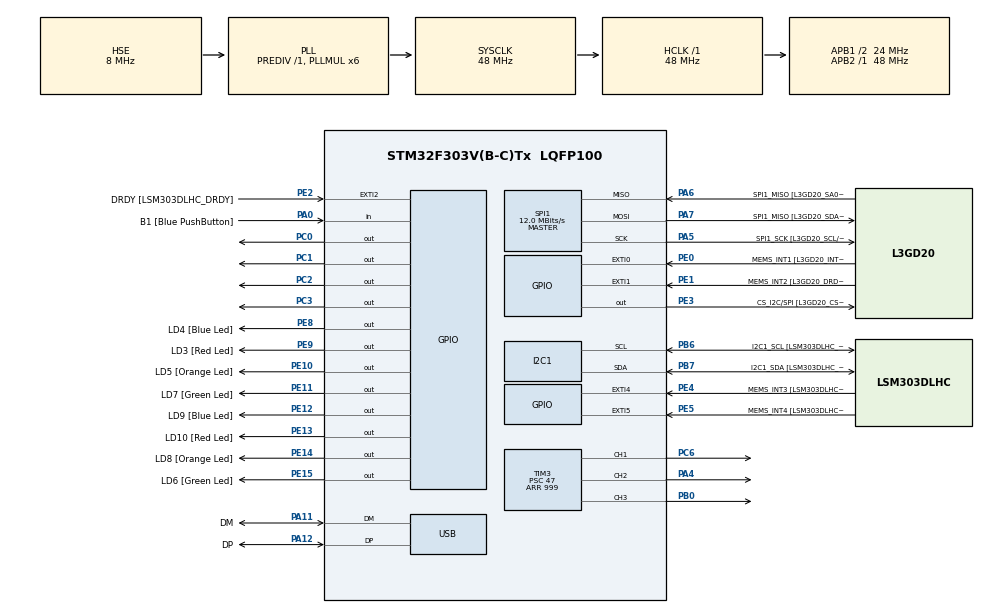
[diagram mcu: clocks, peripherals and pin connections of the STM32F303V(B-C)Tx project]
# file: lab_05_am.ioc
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I2C1.Timing=0x00201D2B
I2C1.Timing-I2C=0x2000090E
Mcu.Family=STM32F3
Mcu.Name=STM32F303V(B-C)Tx
Mcu.Package=LQFP100
NVIC.PriorityGroup=NVIC_PRIORITYGROUP_0
PA0.GPIO_Label=B1 [Blue PushButton]
PA0.Signal=GPIO_Input
PA11.GPIO_Label=DM
PA11.Mode=Device
PA11.Signal=USB_DM
PA12.GPIO_Label=DP
PA12.Mode=Device
PA12.Signal=USB_DP
PA13.GPIO_Label=SWDIO
PA13.Mode=Serial_Wire
PA13.Signal=SYS_JTMS-SWDIO
PA14.GPIO_Label=SWCLK
PA14.Mode=Serial_Wire
PA14.Signal=SYS_JTCK-SWCLK
PA4.Signal=S_TIM3_CH2
PA5.GPIO_Label=SPI1_SCK [L3GD20_SCL/SPC]
PA5.Mode=Full_Duplex_Master
PA5.Signal=SPI1_SCK
PA6.GPIO_Label=SPI1_MISO [L3GD20_SA0/SDO]
PA6.Mode=Full_Duplex_Master
PA6.Signal=SPI1_MISO
PA7.GPIO_Label=SPI1_MISO [L3GD20_SDA/SDI/SDO]
PA7.Mode=Full_Duplex_Master
PA7.Signal=SPI1_MOSI
PB0.Signal=S_TIM3_CH3
PB3.GPIO_Label=SWO
PB3.Signal=SYS_JTDO-TRACESWO
PB6.GPIO_Label=I2C1_SCL [LSM303DLHC_SCL]
PB6.GPIO_Pu=GPIO_PULLUP
PB6.Mode=I2C
PB6.Signal=I2C1_SCL
PB7.GPIO_Label=I2C1_SDA [LSM303DLHC_SDA]
PB7.GPIO_Pu=GPIO_PULLUP
PB7.Mode=I2C
PB7.Signal=I2C1_SDA
PC0.Signal=GPIO_Output
PC1.Signal=GPIO_Output
PC14-OSC32_IN.GPIO_Label=OSC32_IN
PC14-OSC32_IN.Signal=RCC_OSC32_IN
PC15-OSC32_OUT.GPIO_Label=OSC32_OUT
PC15-OSC32_OUT.Signal=RCC_OSC32_OUT
PC2.Signal=GPIO_Output
PC3.Signal=GPIO_Output
PC6.Signal=S_TIM3_CH1
PE0.GPIO_Label=MEMS_INT1 [L3GD20_INT1]
PE0.GPIO_ModeDefaultEXTI=GPIO_MODE_EVT_RISING
PE0.Signal=GPXTI0
PE1.GPIO_Label=MEMS_INT2 [L3GD20_DRDY/INT2]
PE1.GPIO_ModeDefaultEXTI=GPIO_MODE_EVT_RISING
PE1.Signal=GPXTI1
PE10.GPIO_Label=LD5 [Orange Led]
PE10.Signal=GPIO_Output
PE11.GPIO_Label=LD7 [Green Led]
PE11.Signal=GPIO_Output
PE12.GPIO_Label=LD9 [Blue Led]
PE12.Signal=GPIO_Output
PE13.GPIO_Label=LD10 [Red Led]
PE13.Signal=GPIO_Output
PE14.GPIO_Label=LD8 [Orange Led]
PE14.Signal=GPIO_Output
PE15.GPIO_Label=LD6 [Green Led]
PE15.Signal=GPIO_Output
PE2.GPIO_Label=DRDY [LSM303DLHC_DRDY]
PE2.GPIO_ModeDefaultEXTI=GPIO_MODE_EVT_RISING
PE2.Signal=GPXTI2
PE3.GPIO_Label=CS_I2C/SPI [L3GD20_CS_I2C/SPI]
PE3.Signal=GPIO_Output
PE4.GPIO_Label=MEMS_INT3 [LSM303DLHC_INT1]
PE4.GPIO_ModeDefaultEXTI=GPIO_MODE_EVT_RISING
PE4.Signal=GPXTI4
PE5.GPIO_Label=MEMS_INT4 [LSM303DLHC_INT2]
PE5.GPIO_ModeDefaultEXTI=GPIO_MODE_EVT_RISING
PE5.Signal=GPXTI5
PE8.GPIO_Label=LD4 [Blue Led]
PE8.Signal=GPIO_Output
PE9.GPIO_Label=LD3 [Red Led]
PE9.Signal=GPIO_Output
PF0-OSC_IN.GPIO_Label=OSC_IN
PF0-OSC_IN.Mode=HSE-External-Clock-Source
PF0-OSC_IN.Signal=RCC_OSC_IN
PF1-OSC_OUT.GPIO_Label=OSC_OUT
PF1-OSC_OUT.Signal=RCC_OSC_OUT
ProjectManager.HeapSize=0x200
ProjectManager.StackSize=0x400
ProjectManager.TargetToolchain=CMake
RCC.AHBFreq_Value=48000000
RCC.APB1CLKDivider=RCC_HCLK_DIV2
RCC.APB1Freq_Value=24000000
RCC.APB1TimFreq_Value=48000000
RCC.APB2Freq_Value=48000000
RCC.APB2TimFreq_Value=48000000
RCC.CortexFreq_Value=48000000
RCC.HCLKFreq_Value=48000000
RCC.HSE_VALUE=8000000
RCC.HSI_VALUE=8000000
RCC.LSE_VALUE=32768
RCC.PLLMUL=RCC_PLL_MUL6
RCC.SYSCLKFreq_VALUE=48000000
RCC.SYSCLKSourceVirtual=RCC_SYSCLKSOURCE_PLLCLK
RCC.USBFreq_Value=48000000
SH.S_TIM3_CH1.0=TIM3_CH1,PWM Generation1 CH1
SH.S_TIM3_CH2.0=TIM3_CH2,PWM Generation2 CH2
SH.S_TIM3_CH3.0=TIM3_CH3,PWM Generation3 CH3
SPI1.BaudRatePrescaler=SPI_BAUDRATEPRESCALER_4
SPI1.BaudRatePrescaler-Full_Duplex_Master=SPI_BAUDRATEPRESCALER_2
SPI1.CalculateBaudRate=12.0 MBits/s
SPI1.CalculateBaudRate-Full_Duplex_Master=24.0 MBits/s
SPI1.Direction=SPI_DIRECTION_2LINES
SPI1.Mode=SPI_MODE_MASTER
SPI1.Mode-Full_Duplex_Master=SPI_MODE_MASTER
SPI1.VirtualType=VM_MASTER
TIM3.Channel-PWM\ Generation1\ CH1=TIM_CHANNEL_1
TIM3.Channel-PWM\ Generation2\ CH2=TIM_CHANNEL_2
TIM3.Channel-PWM\ Generation3\ CH3=TIM_CHANNEL_3
TIM3.Period=999
TIM3.Prescaler=47
TIM3.Pulse-PWM\ Generation1\ CH1=500
TIM3.Pulse-PWM\ Generation2\ CH2=500
TIM3.Pulse-PWM\ Generation3\ CH3=500
board=STM32F3DISCOVERY

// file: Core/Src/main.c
/* USER CODE BEGIN Header */
/**
  ******************************************************************************
  * @file           : main.c
  * @brief          : Main program body
  ******************************************************************************
  * @attention
  *
  * Copyright (c) 2026 STMicroelectronics.
  * All rights reserved.
  *
  * This software is licensed under terms that can be found in the LICENSE file
  * in the root directory of this software component.
  * If no LICENSE file comes with this software, it is provided AS-IS.
  *
  ******************************************************************************
  */
/* USER CODE END Header */
#include "main.h"

I2C_HandleTypeDef hi2c1;

SPI_HandleTypeDef hspi1;

TIM_HandleTypeDef htim3;

PCD_HandleTypeDef hpcd_USB_FS;

void SystemClock_Config(void);
static void MX_GPIO_Init(void);
static void MX_I2C1_Init(void);
static void MX_SPI1_Init(void);
static void MX_TIM3_Init(void);
static void MX_USB_PCD_Init(void);
/* USER CODE BEGIN PFP */
void Motor_A_SetSpeed(uint8_t speed_percent);
void Motor_B_SetSpeed(uint8_t speed_percent);
void Motor_A_Accelerate(uint32_t duration_ms);
void Motor_A_Decelerate(uint32_t duration_ms);
void Motor_B_Accelerate(uint32_t duration_ms);
void Motor_B_Decelerate(uint32_t duration_ms);
void Both_Motors_SetSpeed(uint8_t speed_percent);
void Both_Motors_Accelerate(uint32_t duration_ms);
void Both_Motors_Decelerate(uint32_t duration_ms);
/* USER CODE END PFP */

/* USER CODE BEGIN 0 */
// ==================== MOTOR A CONTROL (TIM2_CH1 + PC0/PC1) ====================
#define MOTOR_A_FORWARD()   do { \
                              HAL_GPIO_WritePin(GPIOC, GPIO_PIN_0, GPIO_PIN_SET); \
                              HAL_GPIO_WritePin(GPIOC, GPIO_PIN_1, GPIO_PIN_RESET); \
                            } while(0)

#define MOTOR_A_REVERSE()   do { \
                              HAL_GPIO_WritePin(GPIOC, GPIO_PIN_0, GPIO_PIN_RESET); \
                              HAL_GPIO_WritePin(GPIOC, GPIO_PIN_1, GPIO_PIN_SET); \
                            } while(0)

#define MOTOR_A_STOP()      do { \
                              HAL_GPIO_WritePin(GPIOC, GPIO_PIN_0, GPIO_PIN_RESET); \
                              HAL_GPIO_WritePin(GPIOC, GPIO_PIN_1, GPIO_PIN_RESET); \
                            } while(0)

// ==================== MOTOR B CONTROL (TIM2_CH2 + PC2/PC3) ====================
#define MOTOR_B_FORWARD()   do { \
                              HAL_GPIO_WritePin(GPIOC, GPIO_PIN_2, GPIO_PIN_SET); \
                              HAL_GPIO_WritePin(GPIOC, GPIO_PIN_3, GPIO_PIN_RESET); \
                            } while(0)

#define MOTOR_B_REVERSE()   do { \
                              HAL_GPIO_WritePin(GPIOC, GPIO_PIN_2, GPIO_PIN_RESET); \
                              HAL_GPIO_WritePin(GPIOC, GPIO_PIN_3, GPIO_PIN_SET); \
                            } while(0)

#define MOTOR_B_STOP()      do { \
                              HAL_GPIO_WritePin(GPIOC, GPIO_PIN_2, GPIO_PIN_RESET); \
                              HAL_GPIO_WritePin(GPIOC, GPIO_PIN_3, GPIO_PIN_RESET); \
                            } while(0)

// ==================== BOTH MOTORS COMBINED ====================
#define BOTH_MOTORS_FORWARD()  do { MOTOR_A_FORWARD(); MOTOR_B_FORWARD(); } while(0)
#define BOTH_MOTORS_REVERSE()  do { MOTOR_A_REVERSE(); MOTOR_B_REVERSE(); } while(0)
#define BOTH_MOTORS_STOP()     do { MOTOR_A_STOP(); MOTOR_B_STOP(); } while(0)
/* USER CODE END 0 */

int main(void)
{

  /* MCU Configuration--------------------------------------------------------*/

  /* Reset of all peripherals, Initializes the Flash interface and the Systick. */
  HAL_Init();

  /* USER CODE BEGIN Init */
   // Start PWM
  /* ===== Start PWM on all channels ===== */

/* ===== Set Duty Cycles ===== */
/* Assumes ARR = 1000 */

  /* USER CODE END Init */

  /* Configure the system clock */
  SystemClock_Config();

  /* Initialize all configured peripherals */
  MX_GPIO_Init();
  MX_I2C1_Init();
  MX_SPI1_Init();
  MX_TIM3_Init();
  MX_USB_PCD_Init();

  /* Infinite loop */
  /* USER CODE BEGIN WHILE */
  /* Private variables ---------------------------------------------------------*/
// uint16_t dutyCycle = 0;
// uint8_t step = 5; // How much brightness changes per increment

/* USER CODE BEGIN 2 */
// 1. Start PWM for all three colors
// HAL_TIM_PWM_Start(&htim3, TIM_CHANNEL_1); // Red
// HAL_TIM_PWM_Start(&htim3, TIM_CHANNEL_2); // Green
// HAL_TIM_PWM_Start(&htim3, TIM_CHANNEL_3); // Blue
  // Start PWM on both channels
  HAL_TIM_PWM_Start(&htim3, TIM_CHANNEL_1);  // Motor A Speed (PA15)
  HAL_TIM_PWM_Start(&htim3, TIM_CHANNEL_2);  // Motor B Speed (PA1 or PB3)

  // Initialize both motors to stopped state
  BOTH_MOTORS_STOP();
  Motor_A_SetSpeed(0);
  Motor_B_SetSpeed(0);
/* USER CODE END 2 */

/* Infinite loop */
/* USER CODE BEGIN WHILE */
while (1)
{
  // --- PULSE UP ---
  //task1
  // __HAL_TIM_SET_COMPARE(&htim3, TIM_CHANNEL_2, 1000); // Green
  // __HAL_TIM_SET_COMPARE(&htim3, TIM_CHANNEL_3, 1000); // Blue
  // for (dutyCycle = 0; dutyCycle <= 1000; dutyCycle += step)
  // {
  //   __HAL_TIM_SET_COMPARE(&htim3, TIM_CHANNEL_1, dutyCycle); // Red

  //   HAL_Delay(5);
  // }

  // // --- PULSE DOWN ---
  // for (dutyCycle = 1000; dutyCycle > 0; dutyCycle -= step)
  // {
  //   __HAL_TIM_SET_COMPARE(&htim3, TIM_CHANNEL_1, dutyCycle);

  //   HAL_Delay(5);
  //}
    BOTH_MOTORS_FORWARD();              // Set both to forward direction
    Both_Motors_Accelerate(3000);       // Speed up together: 0% → 100% (3 sec)
    HAL_Delay(2000);                    // Run at full speed (2 sec)
    Both_Motors_Decelerate(3000);       // Slow down together: 100% → 0% (3 sec)
    BOTH_MOTORS_STOP();                 // Stop both
    HAL_Delay(1000);                    // Pause (1 sec)

    // ========== DEMO 2: Turn Left (Spin in place) ==========
    MOTOR_A_REVERSE();                  // Left motor reverse
    MOTOR_B_FORWARD();                  // Right motor forward
    Motor_A_SetSpeed(60);               // 60% speed
    Motor_B_SetSpeed(60);               // 60% speed
    HAL_Delay(2000);                    // Turn for 2 seconds
    BOTH_MOTORS_STOP();                 // Stop
    HAL_Delay(1000);                    // Pause (1 sec)

    // ========== DEMO 3: Turn Right (Spin in place) ==========
    MOTOR_A_FORWARD();                  // Left motor forward
    MOTOR_B_REVERSE();                  // Right motor reverse
    Motor_A_SetSpeed(60);               // 60% speed
    Motor_B_SetSpeed(60);               // 60% speed
    HAL_Delay(2000);                    // Turn for 2 seconds
    BOTH_MOTORS_STOP();                 // Stop
    HAL_Delay(1000);                    // Pause (1 sec)

    // ========== DEMO 4: Both Motors Reverse Together ==========
    BOTH_MOTORS_REVERSE();              // Set both to reverse direction
    Both_Motors_Accelerate(3000);       // Speed up together: 0% → 100% (3 sec)
    HAL_Delay(2000);                    // Run at full speed (2 sec)
    Both_Motors_Decelerate(3000);       // Slow down together: 100% → 0% (3 sec)
    BOTH_MOTORS_STOP();                 // Stop both
    HAL_Delay(2000);                    // Longer pause before repeat (2 sec)

}
    /* USER CODE END WHILE */

  }

void SystemClock_Config(void)
{
  RCC_OscInitTypeDef RCC_OscInitStruct = {0};
  RCC_ClkInitTypeDef RCC_ClkInitStruct = {0};
  RCC_PeriphCLKInitTypeDef PeriphClkInit = {0};

  /** Initializes the RCC Oscillators according to the specified parameters
  * in the RCC_OscInitTypeDef structure.
  */
  RCC_OscInitStruct.OscillatorType = RCC_OSCILLATORTYPE_HSI|RCC_OSCILLATORTYPE_HSE;
  RCC_OscInitStruct.HSEState = RCC_HSE_BYPASS;
  RCC_OscInitStruct.HSEPredivValue = RCC_HSE_PREDIV_DIV1;
  RCC_OscInitStruct.HSIState = RCC_HSI_ON;
  RCC_OscInitStruct.HSICalibrationValue = RCC_HSICALIBRATION_DEFAULT;
  RCC_OscInitStruct.PLL.PLLState = RCC_PLL_ON;
  RCC_OscInitStruct.PLL.PLLSource = RCC_PLLSOURCE_HSE;
  RCC_OscInitStruct.PLL.PLLMUL = RCC_PLL_MUL6;
  if (HAL_RCC_OscConfig(&RCC_OscInitStruct) != HAL_OK)
  {
    Error_Handler();
  }

  /** Initializes the CPU, AHB and APB buses clocks
  */
  RCC_ClkInitStruct.ClockType = RCC_CLOCKTYPE_HCLK|RCC_CLOCKTYPE_SYSCLK
                              |RCC_CLOCKTYPE_PCLK1|RCC_CLOCKTYPE_PCLK2;
  RCC_ClkInitStruct.SYSCLKSource = RCC_SYSCLKSOURCE_PLLCLK;
  RCC_ClkInitStruct.AHBCLKDivider = RCC_SYSCLK_DIV1;
  RCC_ClkInitStruct.APB1CLKDivider = RCC_HCLK_DIV2;
  RCC_ClkInitStruct.APB2CLKDivider = RCC_HCLK_DIV1;

  if (HAL_RCC_ClockConfig(&RCC_ClkInitStruct, FLASH_LATENCY_1) != HAL_OK)
  {
    Error_Handler();TIME
  }
  PeriphClkInit.PeriphClockSelection = RCC_PERIPHCLK_USB|RCC_PERIPHCLK_I2C1;
  PeriphClkInit.I2c1ClockSelection = RCC_I2C1CLKSOURCE_HSI;
  PeriphClkInit.USBClockSelection = RCC_USBCLKSOURCE_PLL;
  if (HAL_RCCEx_PeriphCLKConfig(&PeriphClkInit) != HAL_OK)
  {
    Error_Handler();
  }
}

static void MX_I2C1_Init(void)
{

  hi2c1.Instance = I2C1;
  hi2c1.Init.Timing = 0x2000090E;
  hi2c1.Init.OwnAddress1 = 0;
  hi2c1.Init.AddressingMode = I2C_ADDRESSINGMODE_7BIT;
  hi2c1.Init.DualAddressMode = I2C_DUALADDRESS_DISABLE;
  hi2c1.Init.OwnAddress2 = 0;
  hi2c1.Init.OwnAddress2Masks = I2C_OA2_NOMASK;
  hi2c1.Init.GeneralCallMode = I2C_GENERALCALL_DISABLE;
  hi2c1.Init.NoStretchMode = I2C_NOSTRETCH_DISABLE;
  if (HAL_I2C_Init(&hi2c1) != HAL_OK)
  {
    Error_Handler();
  }

  /** Configure Analogue filter
  */
  if (HAL_I2CEx_ConfigAnalogFilter(&hi2c1, I2C_ANALOGFILTER_ENABLE) != HAL_OK)
  {
    Error_Handler();
  }

  /** Configure Digital filter
  */
  if (HAL_I2CEx_ConfigDigitalFilter(&hi2c1, 0) != HAL_OK)
  {
    Error_Handler();
  }

}

static void MX_SPI1_Init(void)
{

  /* SPI1 parameter configuration*/
  hspi1.Instance = SPI1;
  hspi1.Init.Mode = SPI_MODE_MASTER;
  hspi1.Init.Direction = SPI_DIRECTION_2LINES;
  hspi1.Init.DataSize = SPI_DATASIZE_4BIT;
  hspi1.Init.CLKPolarity = SPI_POLARITY_LOW;
  hspi1.Init.CLKPhase = SPI_PHASE_1EDGE;
  hspi1.Init.NSS = SPI_NSS_SOFT;
  hspi1.Init.BaudRatePrescaler = SPI_BAUDRATEPRESCALER_4;
  hspi1.Init.FirstBit = SPI_FIRSTBIT_MSB;
  hspi1.Init.TIMode = SPI_TIMODE_DISABLE;
  hspi1.Init.CRCCalculation = SPI_CRCCALCULATION_DISABLE;
  hspi1.Init.CRCPolynomial = 7;
  hspi1.Init.CRCLength = SPI_CRC_LENGTH_DATASIZE;
  hspi1.Init.NSSPMode = SPI_NSS_PULSE_ENABLE;
  if (HAL_SPI_Init(&hspi1) != HAL_OK)
  {
    Error_Handler();
  }

}

static void MX_TIM3_Init(void)
{

  TIM_MasterConfigTypeDef sMasterConfig = {0};
  TIM_OC_InitTypeDef sConfigOC = {0};

  htim3.Instance = TIM3;
  htim3.Init.Prescaler = 47;
  htim3.Init.CounterMode = TIM_COUNTERMODE_UP;
  htim3.Init.Period = 999;
  htim3.Init.ClockDivision = TIM_CLOCKDIVISION_DIV1;
  htim3.Init.AutoReloadPreload = TIM_AUTORELOAD_PRELOAD_DISABLE;
  if (HAL_TIM_PWM_Init(&htim3) != HAL_OK)
  {
    Error_Handler();
  }
  sMasterConfig.MasterOutputTrigger = TIM_TRGO_RESET;
  sMasterConfig.MasterSlaveMode = TIM_MASTERSLAVEMODE_DISABLE;
  if (HAL_TIMEx_MasterConfigSynchronization(&htim3, &sMasterConfig) != HAL_OK)
  {
    Error_Handler();
  }
  sConfigOC.OCMode = TIM_OCMODE_PWM1;
  sConfigOC.Pulse = 500;
  sConfigOC.OCPolarity = TIM_OCPOLARITY_HIGH;
  sConfigOC.OCFastMode = TIM_OCFAST_DISABLE;
  if (HAL_TIM_PWM_ConfigChannel(&htim3, &sConfigOC, TIM_CHANNEL_1) != HAL_OK)
  {
    Error_Handler();
  }
  if (HAL_TIM_PWM_ConfigChannel(&htim3, &sConfigOC, TIM_CHANNEL_2) != HAL_OK)
  {
    Error_Handler();
  }
  if (HAL_TIM_PWM_ConfigChannel(&htim3, &sConfigOC, TIM_CHANNEL_3) != HAL_OK)
  {
    Error_Handler();
  }
  HAL_TIM_MspPostInit(&htim3);

}

static void MX_USB_PCD_Init(void)
{

  hpcd_USB_FS.Instance = USB;
  hpcd_USB_FS.Init.dev_endpoints = 8;
  hpcd_USB_FS.Init.speed = PCD_SPEED_FULL;
  hpcd_USB_FS.Init.phy_itface = PCD_PHY_EMBEDDED;
  hpcd_USB_FS.Init.low_power_enable = DISABLE;
  hpcd_USB_FS.Init.battery_charging_enable = DISABLE;
  if (HAL_PCD_Init(&hpcd_USB_FS) != HAL_OK)
  {
    Error_Handler();
  }

}

static void MX_GPIO_Init(void)
{
  GPIO_InitTypeDef GPIO_InitStruct = {0};

  /* GPIO Ports Clock Enable */
  __HAL_RCC_GPIOE_CLK_ENABLE();
  __HAL_RCC_GPIOC_CLK_ENABLE();
  __HAL_RCC_GPIOF_CLK_ENABLE();
  __HAL_RCC_GPIOA_CLK_ENABLE();
  __HAL_RCC_GPIOB_CLK_ENABLE();

  /*Configure GPIO pin Output Level */
  HAL_GPIO_WritePin(GPIOE, CS_I2C_SPI_Pin|LD4_Pin|LD3_Pin|LD5_Pin
                          |LD7_Pin|LD9_Pin|LD10_Pin|LD8_Pin
                          |LD6_Pin, GPIO_PIN_RESET);

  /*Configure GPIO pin Output Level */
  HAL_GPIO_WritePin(GPIOC, GPIO_PIN_0|GPIO_PIN_1|GPIO_PIN_2|GPIO_PIN_3, GPIO_PIN_RESET);

  /*Configure GPIO pins : DRDY_Pin MEMS_INT3_Pin MEMS_INT4_Pin MEMS_INT1_Pin
                           MEMS_INT2_Pin */
  GPIO_InitStruct.Pin = DRDY_Pin|MEMS_INT3_Pin|MEMS_INT4_Pin|MEMS_INT1_Pin
                          |MEMS_INT2_Pin;
  GPIO_InitStruct.Mode = GPIO_MODE_EVT_RISING;
  GPIO_InitStruct.Pull = GPIO_NOPULL;
  HAL_GPIO_Init(GPIOE, &GPIO_InitStruct);

  /*Configure GPIO pins : CS_I2C_SPI_Pin LD4_Pin LD3_Pin LD5_Pin
                           LD7_Pin LD9_Pin LD10_Pin LD8_Pin
                           LD6_Pin */
  GPIO_InitStruct.Pin = CS_I2C_SPI_Pin|LD4_Pin|LD3_Pin|LD5_Pin
                          |LD7_Pin|LD9_Pin|LD10_Pin|LD8_Pin
                          |LD6_Pin;
  GPIO_InitStruct.Mode = GPIO_MODE_OUTPUT_PP;
  GPIO_InitStruct.Pull = GPIO_NOPULL;
  GPIO_InitStruct.Speed = GPIO_SPEED_FREQ_LOW;
  HAL_GPIO_Init(GPIOE, &GPIO_InitStruct);

  /*Configure GPIO pins : PC0 PC1 PC2 PC3 */
  GPIO_InitStruct.Pin = GPIO_PIN_0|GPIO_PIN_1|GPIO_PIN_2|GPIO_PIN_3;
  GPIO_InitStruct.Mode = GPIO_MODE_OUTPUT_PP;
  GPIO_InitStruct.Pull = GPIO_NOPULL;
  GPIO_InitStruct.Speed = GPIO_SPEED_FREQ_LOW;
  HAL_GPIO_Init(GPIOC, &GPIO_InitStruct);

  /*Configure GPIO pin : B1_Pin */
  GPIO_InitStruct.Pin = B1_Pin;
  GPIO_InitStruct.Mode = GPIO_MODE_INPUT;
  GPIO_InitStruct.Pull = GPIO_NOPULL;
  HAL_GPIO_Init(B1_GPIO_Port, &GPIO_InitStruct);

}

/* USER CODE BEGIN 4 */
  // ==================== INDIVIDUAL MOTOR SPEED CONTROL ====================

/**
 * @brief Set Motor A speed
 * @param speed_percent: 0-100 (0=stopped, 100=full speed)
 */
void Motor_A_SetSpeed(uint8_t speed_percent) {
  if (speed_percent > 100) {
    speed_percent = 100;
  }
  uint16_t ccr_value = (speed_percent * 999) / 100;
  __HAL_TIM_SET_COMPARE(&htim3, TIM_CHANNEL_1, ccr_value);
}

/**
 * @brief Set Motor B speed
 * @param speed_percent: 0-100 (0=stopped, 100=full speed)
 */
void Motor_B_SetSpeed(uint8_t speed_percent) {
  if (speed_percent > 100) {
    speed_percent = 100;
  }
  uint16_t ccr_value = (speed_percent * 999) / 100;
  __HAL_TIM_SET_COMPARE(&htim3, TIM_CHANNEL_2, ccr_value);
}

// ==================== MOTOR A ACCELERATION/DECELERATION ====================

void Motor_A_Accelerate(uint32_t duration_ms) {
  uint8_t speed;
  uint32_t delay_per_step = duration_ms / 100;
  for (speed = 0; speed <= 100; speed++) {
    Motor_A_SetSpeed(speed);
    HAL_Delay(delay_per_step);
  }
}

void Motor_A_Decelerate(uint32_t duration_ms) {
  int8_t speed;
  uint32_t delay_per_step = duration_ms / 100;
  for (speed = 100; speed >= 0; speed--) {
    Motor_A_SetSpeed(speed);
    HAL_Delay(delay_per_step);
  }
}

// ==================== MOTOR B ACCELERATION/DECELERATION ====================

void Motor_B_Accelerate(uint32_t duration_ms) {
  uint8_t speed;
  uint32_t delay_per_step = duration_ms / 100;
  for (speed = 0; speed <= 100; speed++) {
    Motor_B_SetSpeed(speed);
    HAL_Delay(delay_per_step);
  }
}

void Motor_B_Decelerate(uint32_t duration_ms) {
  int8_t speed;
  uint32_t delay_per_step = duration_ms / 100;
  for (speed = 100; speed >= 0; speed--) {
    Motor_B_SetSpeed(speed);
    HAL_Delay(delay_per_step);
  }
}

// ==================== SYNCHRONIZED CONTROL (BOTH MOTORS) ====================

void Both_Motors_SetSpeed(uint8_t speed_percent) {
  Motor_A_SetSpeed(speed_percent);
  Motor_B_SetSpeed(speed_percent);
}

void Both_Motors_Accelerate(uint32_t duration_ms) {
  uint8_t speed;
  uint32_t delay_per_step = duration_ms / 100;
  for (speed = 0; speed <= 100; speed++) {
    Both_Motors_SetSpeed(speed);
    HAL_Delay(delay_per_step);
  }
}

void Both_Motors_Decelerate(uint32_t duration_ms) {
  int8_t speed;
  uint32_t delay_per_step = duration_ms / 100;
  for (speed = 100; speed >= 0; speed--) {
    Both_Motors_SetSpeed(speed);
    HAL_Delay(delay_per_step);
  }
}
/* USER CODE END 4 */

void Error_Handler(void)
{
  __disable_irq();
  while (1)
  {
  }
}
